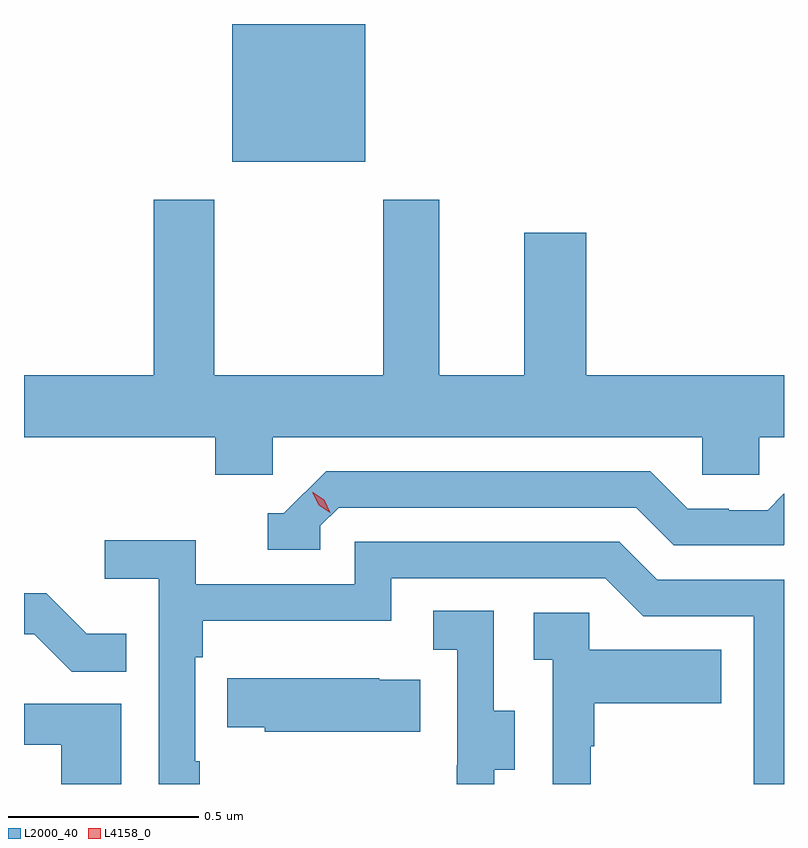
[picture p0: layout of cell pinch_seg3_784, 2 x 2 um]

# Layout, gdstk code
import gdstk
lib = gdstk.Library(unit=1e-6, precision=1e-09)
def R(c, l, rs):  # rectangles x0, y0, x1, y1
    for r in rs: c.add(gdstk.rectangle(r[:2], r[2:], *l))
def P(c, l, *ps):  # polygons
    for p in ps: c.add(gdstk.Polygon(p, *l))
L2000_40 = (2000, 40)
L4158_0 = (4158, 0)

pinch_seg3_784 = lib.new_cell('pinch_seg3_784')
R(pinch_seg3_784, L2000_40, [(811.592,730.946,811.942,731.308)])
P(pinch_seg3_784, L2000_40, [(811.698,730.22),(812.829,730.22),(812.829,730.122),(812.979,730.122),(812.979,730.22),(813.044,730.22),(813.044,730.384),(812.524,730.384),(812.524,730.759),(812.36,730.759),(812.36,730.384),(812.137,730.384),(812.137,730.846),(811.99,730.846),(811.99,730.384),(811.545,730.384),(811.545,730.846),(811.385,730.846),(811.385,730.384),(811.044,730.384),(811.044,730.22),(811.547,730.22),(811.547,730.122),(811.698,730.122)],
  [(811.824,729.987),(811.872,730.035),(812.655,730.035),(812.754,729.936),(813.043,729.936),(813.044,729.937),(813.044,730.072),(813.043,730.072),(813.001,730.029),(812.898,730.029),(812.898,730.032),(812.791,730.032),(812.692,730.131),(811.839,730.131),(811.728,730.02),(811.685,730.02),(811.685,729.924),(811.824,729.924)],
  [(811.507,729.368),(811.494,729.368),(811.494,729.641),(811.514,729.641),(811.514,729.737),(812.01,729.737),(812.01,729.849),(812.574,729.849),(812.673,729.75),(812.964,729.75),(812.964,729.308),(813.044,729.308),(813.044,729.846),(812.71,729.846),(812.611,729.945),(811.914,729.945),(811.914,729.834),(811.496,729.834),(811.496,729.95),(811.257,729.95),(811.257,729.848),(811.398,729.848),(811.398,729.308),(811.507,729.308)],
  [(811.313,729.703),(811.209,729.703),(811.102,729.81),(811.044,729.81),(811.044,729.702),(811.071,729.702),(811.169,729.604),(811.313,729.604)],
  [(812.281,729.346),(812.335,729.346),(812.335,729.501),(812.28,729.501),(812.28,729.764),(812.121,729.764),(812.121,729.661),(812.184,729.661),(812.184,729.357),(812.183,729.357),(812.183,729.308),(812.281,729.308)],
  [(812.535,729.407),(812.545,729.407),(812.545,729.521),(812.879,729.521),(812.879,729.661),(812.532,729.661),(812.532,729.759),(812.385,729.759),(812.385,729.635),(812.436,729.635),(812.436,729.308),(812.535,729.308)],
  [(812.087,729.583),(811.979,729.583),(811.979,729.586),(811.579,729.586),(811.579,729.457),(811.677,729.457),(811.677,729.446),(812.087,729.446)],
  [(811.3,729.519),(811.044,729.519),(811.044,729.411),(811.142,729.411),(811.142,729.308),(811.3,729.308)])
P(pinch_seg3_784, L4158_0, [(811.85,730.022),(811.819,730.042),(811.803,730.076),(811.803,730.076),(811.804,730.076),(811.834,730.056),(811.85,730.022),(811.85,730.022)])

lib.write_gds('pinch_seg3_784.gds')
